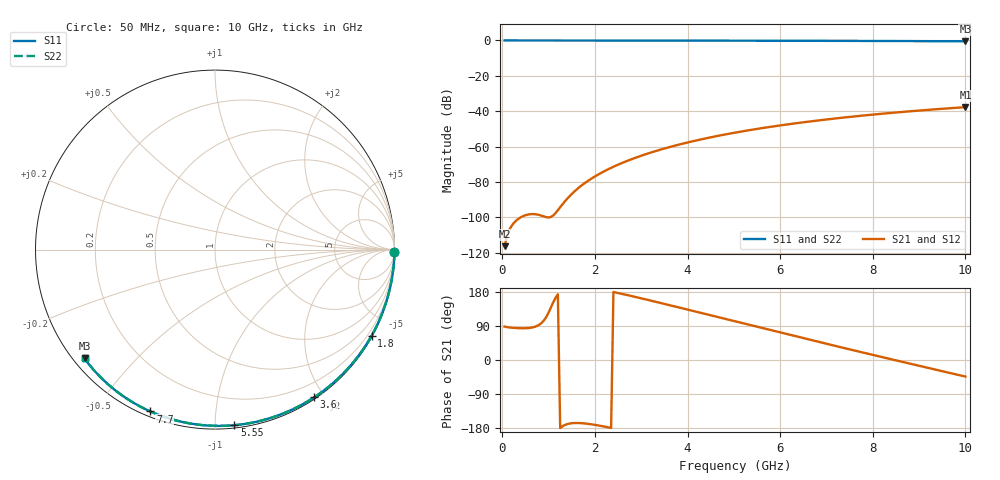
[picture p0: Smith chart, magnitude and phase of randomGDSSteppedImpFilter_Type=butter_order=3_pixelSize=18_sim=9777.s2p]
! freq	dB(S11)	phase(S11)	dB(S12)	phase(S12)
!  dB(S21)	phase(S21)	dB(S22)	phase(S22)
!S-par simulation data
#  GHz  S  DB  R 50
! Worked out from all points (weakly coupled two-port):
!   200 points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, 50 MHz to 10 GHz, reference 50 ohm
!   highest |S21| = -37.72 dB at 10 GHz (marker M1); lowest = -116.4 dB at 50 MHz (marker M2)
!   lowest |S11| = -0.5 dB at 10 GHz (marker M3), VSWR 36.59, Z = 1.55 - j18.1 ohm
!   |S11| at or under -10 dB: nowhere
!   |S22| runs from -0.5 to 0.0 dB; largest |S21 - S12| = 0
!   S11 on the Smith chart (normalised r, x): 50 MHz: open; 1.8 GHz: 0.03, -3.90; 3.6 GHz: 0.02, -1.88; 5.55 GHz: 0.02, -1.12; 7.7 GHz: 0.02, -0.68; 10 GHz: 0.03, -0.36
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0.05  -0.00 -0.8  -116.36 88.2  -116.36 88.2  -0.00 -0.8
0.45  -0.01 -7.3  -99.34 83.7  -99.34 83.7  -0.01 -7.3
0.9  -0.02 -14.5  -99.56 104.6  -99.56 104.6  -0.02 -14.5
1.75  -0.04 -28.0  -81.27 -167.1  -81.27 -167.1  -0.04 -28.0
1.8  -0.04 -28.7  -80.31 -167.7  -80.31 -167.7  -0.04 -28.7
1.85  -0.04 -29.5  -79.41 -168.4  -79.41 -168.4  -0.04 -29.5
2  -0.04 -31.9  -76.92 -171.1  -76.92 -171.1  -0.04 -31.9
2.15  -0.04 -34.2  -74.69 -174.4  -74.69 -174.4  -0.04 -34.2
2.35  -0.05 -37.3  -72.04 -179.3  -72.04 -179.3  -0.05 -37.3
2.55  -0.05 -40.4  -69.69 175.4  -69.69 175.4  -0.05 -40.4
2.95  -0.06 -46.4  -65.65 164.2  -65.65 164.2  -0.06 -46.4
3.4  -0.07 -53.2  -61.87 151.0  -61.87 151.0  -0.07 -53.2
3.6  -0.08 -56.1  -60.38 145.1  -60.38 145.1  -0.08 -56.1
4.3  -0.09 -66.3  -55.91 123.9  -55.91 123.9  -0.09 -66.3
5.05  -0.12 -76.9  -52.02 101.2  -52.02 101.2  -0.12 -76.9
5.55  -0.14 -83.7  -49.82 86.1  -49.82 86.1  -0.14 -83.7
6.1  -0.16 -91.1  -47.68 69.5  -47.68 69.5  -0.16 -91.1
6.7  -0.19 -99.0  -45.63 51.6  -45.63 51.6  -0.19 -99.0
7.7  -0.26 -111.8  -42.71 22.2  -42.71 22.2  -0.26 -111.7
8.35  -0.31 -119.9  -41.09 3.4  -41.09 3.4  -0.31 -119.9
9.2  -0.39 -130.4  -39.23 -21.0  -39.23 -21.0  -0.39 -130.3
10  -0.47 -140.2  -37.72 -43.7  -37.72 -43.7  -0.47 -140.1
